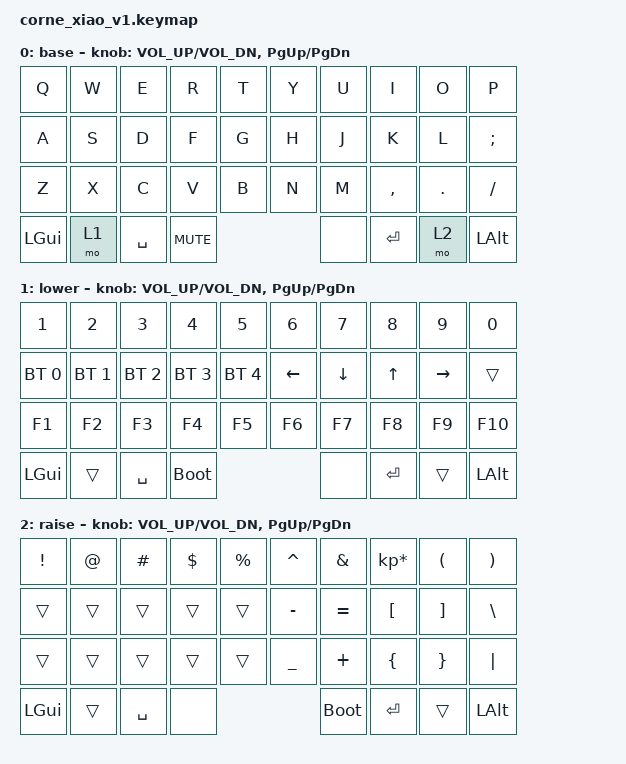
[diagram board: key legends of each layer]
#include <behaviors.dtsi>
#include <dt-bindings/zmk/keys.h>
#include <dt-bindings/zmk/bt.h>

// / {
//     combos {
//         compatible = "zmk,combos";
//         combo_studio_unlock {
//             timeout-ms = <50>;
//             key-positions = <0 1>;
//             bindings = <&studio_unlock>;
//         };
//     };
// };

/ {
    keymap {
        compatible = "zmk,keymap";

        default_layer {
            display-name = "base";
            sensor-bindings = <&inc_dec_kp C_VOL_UP C_VOL_DN &inc_dec_kp PG_UP PG_DN>;

            bindings = <
&kp Q    &kp W &kp E     &kp R      &kp T    &kp Y &kp U &kp I     &kp O    &kp P
&kp A    &kp S &kp D     &kp F      &kp G    &kp H &kp J &kp K     &kp L    &kp SEMI
&kp Z    &kp X &kp C     &kp V      &kp B    &kp N &kp M &kp COMMA &kp DOT  &kp FSLH
&kp LGUI &mo 1 &kp SPACE &kp C_MUTE                &none &kp RET   &mo 2    &kp LALT
            >;
        };

        lower_layer {
            display-name = "lower";
            sensor-bindings = <&inc_dec_kp C_VOL_UP C_VOL_DN &inc_dec_kp PG_UP PG_DN>;

            bindings = <
&kp N1       &kp N2       &kp N3       &kp N4       &kp N5          &kp N6   &kp N7   &kp N8  &kp N9    &kp N0
&bt BT_SEL 0 &bt BT_SEL 1 &bt BT_SEL 2 &bt BT_SEL 3 &bt BT_SEL 4    &kp LEFT &kp DOWN &kp UP  &kp RIGHT &trans
&kp F1       &kp F2       &kp F3       &kp F4       &kp F5          &kp F6   &kp F7   &kp F8  &kp F9    &kp F10
&kp LGUI     &trans       &kp SPACE    &bootloader                           &none    &kp RET &trans    &kp LALT
            >;
        };

        raise_layer {
            display-name = "raise";
            sensor-bindings = <&inc_dec_kp C_VOL_UP C_VOL_DN &inc_dec_kp PG_UP PG_DN>;

            bindings = <
&kp EXCL &kp AT &kp HASH  &kp DLLR &kp PRCNT    &kp CARET &kp AMPS    &kp KP_MULTIPLY &kp LPAR &kp RPAR
&trans   &trans &trans    &trans   &trans       &kp MINUS &kp EQUAL   &kp LBKT        &kp RBKT &kp BSLH
&trans   &trans &trans    &trans   &trans       &kp UNDER &kp PLUS    &kp LBRC        &kp RBRC &kp PIPE
&kp LGUI &trans &kp SPACE &none                           &bootloader &kp RET         &trans   &kp LALT
            >;
        };

        extra1 {
            display-name = "extra1";
            status = "reserved";
        };

        extra2 {
            display-name = "extra2";
            status = "reserved";
        };
    };
};
